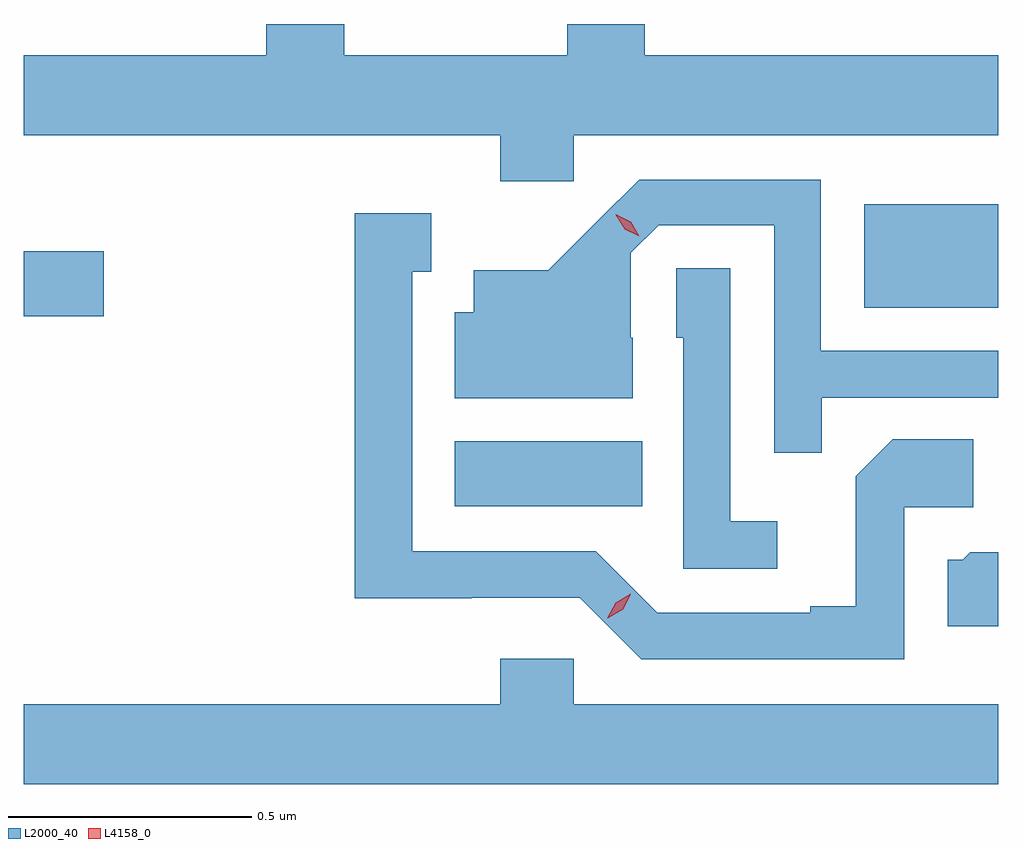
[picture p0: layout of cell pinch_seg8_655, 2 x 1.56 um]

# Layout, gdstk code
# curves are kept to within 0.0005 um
import gdstk
lib = gdstk.Library(unit=1e-6, precision=1e-09)
def R(c, l, rs):  # rectangles x0, y0, x1, y1
    for r in rs: c.add(gdstk.rectangle(r[:2], r[2:], *l))
def P(c, l, *ps):  # polygons
    for p in ps: c.add(gdstk.Polygon(p, *l))
L2000_40 = (2000, 40)
L4158_0 = (4158, 0)

pinch_seg8_655 = lib.new_cell('pinch_seg8_655')
R(pinch_seg8_655, L2000_40, [(178.886,1086.434,179.27,1086.568), (178.001,1086.824,178.165,1086.958), (179.726,1086.842,180.001,1087.054)])
P(pinch_seg8_655, L2000_40, [(179.13,1087.196),(180.001,1087.196),(180.001,1087.36),(179.276,1087.36),(179.276,1087.424),(179.116,1087.424),(179.116,1087.36),(178.659,1087.36),(178.659,1087.424),(178.499,1087.424),(178.499,1087.36),(178.001,1087.36),(178.001,1087.196),(178.979,1087.196),(178.979,1087.101),(179.13,1087.101)],
  [(179.639,1086.657),(180.001,1086.657),(180.001,1086.753),(179.637,1086.753),(179.637,1087.104),(179.264,1087.104),(179.077,1086.919),(178.925,1086.919),(178.925,1086.832),(178.886,1086.832),(178.886,1086.656),(179.251,1086.656),(179.251,1086.78),(179.247,1086.78),(179.247,1086.954),(179.304,1087.011),(179.541,1087.011),(179.541,1086.544),(179.639,1086.544)],
  [(179.808,1086.432),(179.95,1086.432),(179.95,1086.572),(179.785,1086.572),(179.709,1086.496),(179.709,1086.229),(179.615,1086.229),(179.615,1086.216),(179.301,1086.216),(179.175,1086.342),(178.798,1086.342),(178.798,1086.915),(178.837,1086.915),(178.837,1087.036),(178.68,1087.036),(178.68,1086.245),(178.92,1086.245),(178.92,1086.246),(179.142,1086.246),(179.268,1086.12),(179.808,1086.12)],
  [(179.548,1086.403),(179.451,1086.403),(179.451,1086.923),(179.34,1086.923),(179.34,1086.78),(179.355,1086.78),(179.355,1086.306),(179.548,1086.306)],
  [(180.001,1086.34),(179.944,1086.34),(179.928,1086.324),(179.897,1086.324),(179.897,1086.188),(180.001,1086.188)],
  [(180.001,1086.028),(179.13,1086.028),(179.13,1086.121),(178.979,1086.121),(178.979,1086.028),(178.001,1086.028),(178.001,1085.864),(180.001,1085.864)])
P(pinch_seg8_655, L4158_0, [(179.264,1086.988),(179.234,1087.003),(179.216,1087.032),(179.216,1087.033),(179.216,1087.033),(179.247,1087.018),(179.264,1086.988),(179.264,1086.988)],
  [(179.199,1086.204),(179.199,1086.204),(179.216,1086.236),(179.247,1086.255),(179.247,1086.255),(179.247,1086.255),(179.231,1086.223),(179.2,1086.204)])

lib.write_gds('pinch_seg8_655.gds')
